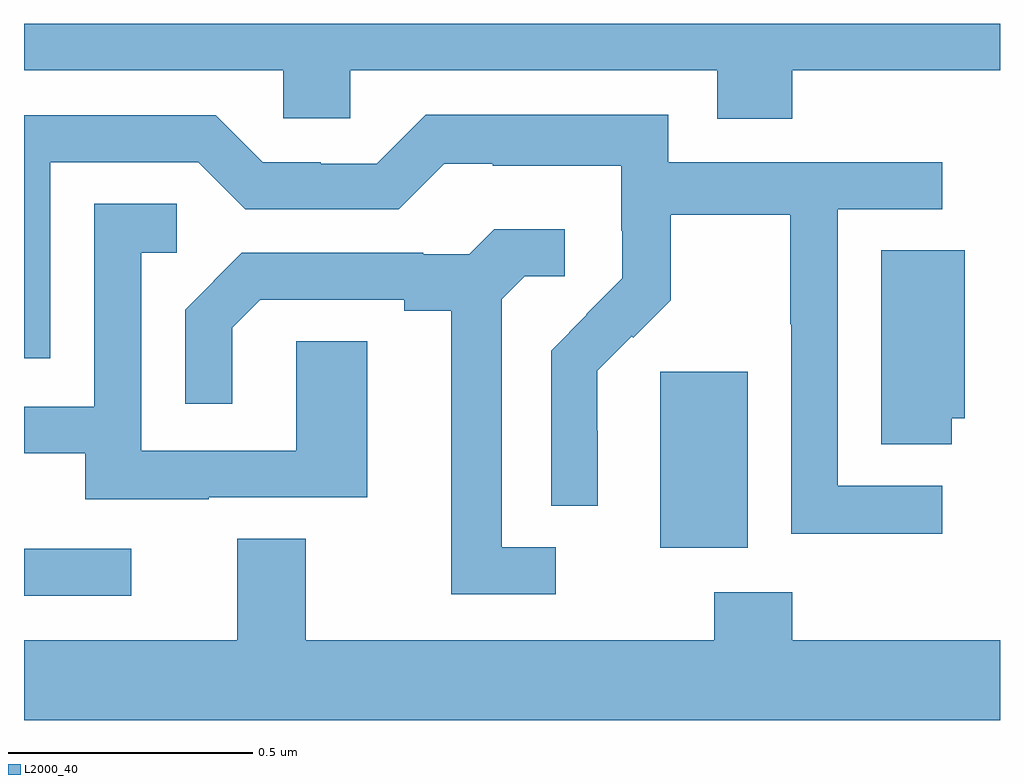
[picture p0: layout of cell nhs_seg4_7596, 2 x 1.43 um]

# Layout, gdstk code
import gdstk
lib = gdstk.Library(unit=1e-6, precision=1e-09)
def R(c, l, rs):  # rectangles x0, y0, x1, y1
    for r in rs: c.add(gdstk.rectangle(r[:2], r[2:], *l))
def P(c, l, *ps):  # polygons
    for p in ps: c.add(gdstk.Polygon(p, *l))
L2000_40 = (2000, 40)

nhs_seg4_7596 = lib.new_cell('nhs_seg4_7596')
R(nhs_seg4_7596, L2000_40, [(204,811.728,204.22,811.824), (205.304,811.826,205.483,812.187)])
P(nhs_seg4_7596, L2000_40, [(205.574,812.804),(206,812.804),(206,812.9),(204,812.9),(204,812.804),(204.531,812.804),(204.531,812.706),(204.669,812.706),(204.669,812.804),(205.421,812.804),(205.421,812.705),(205.574,812.705)],
  [(205.882,811.953),(205.668,811.953),(205.668,812.52),(205.882,812.52),(205.882,812.616),(205.32,812.616),(205.32,812.713),(204.823,812.713),(204.723,812.613),(204.608,812.613),(204.608,812.616),(204.489,812.616),(204.393,812.712),(204,812.712),(204,812.214),(204.054,812.214),(204.054,812.616),(204.357,812.616),(204.453,812.52),(204.768,812.52),(204.861,812.613),(204.961,812.613),(204.961,812.609),(205.224,812.609),(205.224,812.475),(205.226,812.475),(205.226,812.378),(205.152,812.304),(205.153,812.303),(205.08,812.23),(205.08,811.912),(205.176,811.912),(205.176,812.066),(205.175,812.066),(205.175,812.189),(205.245,812.259),(205.248,812.256),(205.325,812.333),(205.325,812.508),(205.57,812.508),(205.57,812.284),(205.572,812.284),(205.572,811.855),(205.882,811.855)],
  [(204.379,811.929),(204.703,811.929),(204.703,812.249),(204.558,812.249),(204.558,812.025),(204.24,812.025),(204.24,812.43),(204.313,812.43),(204.313,812.531),(204.144,812.531),(204.144,812.115),(204,812.115),(204,812.019),(204.125,812.019),(204.125,811.925),(204.379,811.925)],
  [(205.09,811.827),(204.979,811.827),(204.979,812.335),(205.026,812.382),(205.108,812.382),(205.108,812.479),(204.964,812.479),(204.912,812.427),(204.818,812.427),(204.818,812.43),(204.446,812.43),(204.33,812.314),(204.33,812.121),(204.427,812.121),(204.427,812.277),(204.484,812.334),(204.779,812.334),(204.779,812.312),(204.875,812.312),(204.875,811.731),(205.09,811.731)],
  [(205.901,812.091),(205.928,812.091),(205.928,812.435),(205.757,812.435),(205.757,812.038),(205.901,812.038)],
  [(206,811.636),(205.574,811.636),(205.574,811.735),(205.414,811.735),(205.414,811.636),(204.577,811.636),(204.577,811.844),(204.437,811.844),(204.437,811.636),(204,811.636),(204,811.472),(206,811.472)])

lib.write_gds('nhs_seg4_7596.gds')
